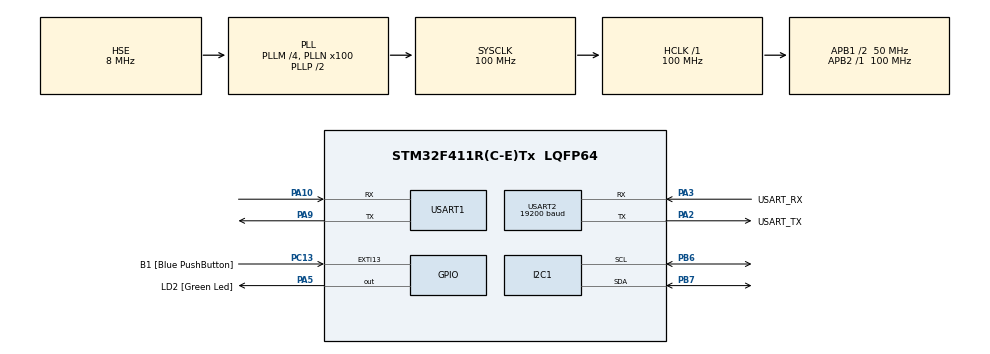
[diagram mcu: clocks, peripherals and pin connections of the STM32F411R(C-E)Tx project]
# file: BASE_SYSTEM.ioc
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Dma.Request0=USART2_TX
Dma.Request1=USART1_TX
Dma.USART1_TX.1.Direction=DMA_MEMORY_TO_PERIPH
Dma.USART1_TX.1.FIFOMode=DMA_FIFOMODE_DISABLE
Dma.USART1_TX.1.Instance=DMA2_Stream7
Dma.USART1_TX.1.MemDataAlignment=DMA_MDATAALIGN_BYTE
Dma.USART1_TX.1.MemInc=DMA_MINC_ENABLE
Dma.USART1_TX.1.Mode=DMA_NORMAL
Dma.USART1_TX.1.PeriphDataAlignment=DMA_PDATAALIGN_BYTE
Dma.USART1_TX.1.PeriphInc=DMA_PINC_DISABLE
Dma.USART1_TX.1.Priority=DMA_PRIORITY_LOW
Dma.USART2_TX.0.Direction=DMA_MEMORY_TO_PERIPH
Dma.USART2_TX.0.FIFOMode=DMA_FIFOMODE_DISABLE
Dma.USART2_TX.0.Instance=DMA1_Stream6
Dma.USART2_TX.0.MemDataAlignment=DMA_MDATAALIGN_BYTE
Dma.USART2_TX.0.MemInc=DMA_MINC_ENABLE
Dma.USART2_TX.0.Mode=DMA_NORMAL
Dma.USART2_TX.0.PeriphDataAlignment=DMA_PDATAALIGN_BYTE
Dma.USART2_TX.0.PeriphInc=DMA_PINC_DISABLE
Dma.USART2_TX.0.Priority=DMA_PRIORITY_LOW
Mcu.Family=STM32F4
Mcu.Name=STM32F411R(C-E)Tx
Mcu.Package=LQFP64
NVIC.DMA1_Stream6_IRQn=true\:0\:0\:false\:false\:true\:false\:true\:true
NVIC.DMA2_Stream7_IRQn=true\:0\:0\:false\:false\:true\:false\:true\:true
NVIC.I2C1_ER_IRQn=true\:0\:0\:false\:false\:true\:true\:true\:true
NVIC.I2C1_EV_IRQn=true\:0\:0\:false\:false\:true\:true\:true\:true
NVIC.PriorityGroup=NVIC_PRIORITYGROUP_0
NVIC.TIM1_TRG_COM_TIM11_IRQn=true\:0\:0\:false\:false\:true\:true\:true\:true
NVIC.USART1_IRQn=true\:0\:0\:false\:false\:true\:true\:true\:true
NVIC.USART2_IRQn=true\:0\:0\:false\:false\:true\:true\:true\:true
PA10.Mode=Asynchronous
PA10.Signal=USART1_RX
PA13.GPIO_Label=TMS
PA13.Mode=Serial_Wire
PA13.Signal=SYS_JTMS-SWDIO
PA14.GPIO_Label=TCK
PA14.Mode=Serial_Wire
PA14.Signal=SYS_JTCK-SWCLK
PA2.GPIO_Label=USART_TX
PA2.Mode=Asynchronous
PA2.Signal=USART2_TX
PA3.GPIO_Label=USART_RX
PA3.Mode=Asynchronous
PA3.Signal=USART2_RX
PA5.GPIO_Label=LD2 [Green Led]
PA5.Signal=GPIO_Output
PA9.Mode=Asynchronous
PA9.Signal=USART1_TX
PB3.GPIO_Label=SWO
PB3.Signal=SYS_JTDO-SWO
PB6.Mode=I2C
PB6.Signal=I2C1_SCL
PB7.Mode=I2C
PB7.Signal=I2C1_SDA
PC13-ANTI_TAMP.GPIO_Label=B1 [Blue PushButton]
PC13-ANTI_TAMP.GPIO_ModeDefaultEXTI=GPIO_MODE_IT_FALLING
PC13-ANTI_TAMP.Signal=GPXTI13
PC14-OSC32_IN.Mode=LSE-External-Oscillator
PC14-OSC32_IN.Signal=RCC_OSC32_IN
PC15-OSC32_OUT.Mode=LSE-External-Oscillator
PC15-OSC32_OUT.Signal=RCC_OSC32_OUT
PH0\ -\ OSC_IN.Mode=HSE-External-Clock-Source
PH0\ -\ OSC_IN.Signal=RCC_OSC_IN
PH1\ -\ OSC_OUT.Mode=HSE-External-Clock-Source
PH1\ -\ OSC_OUT.Signal=RCC_OSC_OUT
ProjectManager.HeapSize=0x200
ProjectManager.StackSize=0x400
ProjectManager.TargetToolchain=STM32CubeIDE
RCC.48MHZClocksFreq_Value=50000000
RCC.AHBFreq_Value=100000000
RCC.APB1CLKDivider=RCC_HCLK_DIV2
RCC.APB1Freq_Value=50000000
RCC.APB1TimFreq_Value=100000000
RCC.APB2Freq_Value=100000000
RCC.APB2TimFreq_Value=100000000
RCC.CortexFreq_Value=100000000
RCC.FLatency-AdvancedSettings=FLASH_LATENCY_3
RCC.HCLKFreq_Value=100000000
RCC.HSE_VALUE=8000000
RCC.HSI_VALUE=16000000
RCC.PLLM=4
RCC.PLLN=100
RCC.PLLSourceVirtual=RCC_PLLSOURCE_HSE
RCC.SYSCLKFreq_VALUE=100000000
RCC.SYSCLKSource=RCC_SYSCLKSOURCE_PLLCLK
RCC.VCOOutputFreq_Value=200000000
TIM11.Channel=TIM_CHANNEL_1
TIM11.OCMode_1=TIM_OCMODE_ACTIVE
TIM11.Period=2005
TIM11.Prescaler=99
TIM11.Pulse=1433
USART1.VirtualMode=VM_ASYNC
USART2.BaudRate=19200
USART2.Parity=PARITY_EVEN
USART2.VirtualMode=VM_ASYNC
USART2.WordLength=WORDLENGTH_9B
VP_TIM11_VS_ClockSourceINT.Mode=Enable_Timer
VP_TIM11_VS_OPM.Mode=OPM_bit
VP_TIM11_VS_no_output1.Mode=Output Compare1 No Output
board=NUCLEO-F411RE

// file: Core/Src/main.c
/* USER CODE BEGIN Header */
/**
  ******************************************************************************
  * @file           : main.c
  * @brief          : Main program body
  ******************************************************************************
  * @attention
  *
  * Copyright (c) 2023 STMicroelectronics.
  * All rights reserved.
  *
  * This software is licensed under terms that can be found in the LICENSE file
  * in the root directory of this software component.
  * If no LICENSE file comes with this software, it is provided AS-IS.
  *
  ******************************************************************************
  */
/* USER CODE END Header */
#include "main.h"
#include "dma.h"
#include "i2c.h"
#include "tim.h"
#include "usart.h"
#include "gpio.h"

/* USER CODE BEGIN Includes */
#include "ModBusRTU.h"
#include "I2C_EndEffector.h"
#include "string.h"
#include "math.h"
#include "Joystick.h"
#define BUFFER_SIZE 4
/* USER CODE END Includes */

/* USER CODE BEGIN PV */
ModbusHandleTypedef hmodbus;
u16u8_t registerFrame[200];
int reset;
int start;
int pick;
int place;
int stop;
int test;
int stoptest;
uint8_t RecieveData;
char Data[8];
int lastTest;
int lastRun;
int lastPick;
uint8_t Result;
//int flag;
//Joystick//
int receivedByte[BUFFER_SIZE];
int SetTrayPos;

typedef struct PositionStructure
{
	int tray_x[3];
	int tray_y[3];

	int position_x;
	int position_y;
}PositionStructureTypedef;
PositionStructureTypedef PosData = {0};
/* USER CODE END PV */

void SystemClock_Config(void);
/* USER CODE BEGIN PFP */
void UARTInterruptConfig();
/* USER CODE END PFP */

int main(void)
{

  /* MCU Configuration--------------------------------------------------------*/

  /* Reset of all peripherals, Initializes the Flash interface and the Systick. */
  HAL_Init();

  /* Configure the system clock */
  SystemClock_Config();

  /* Initialize all configured peripherals */
  MX_GPIO_Init();
  MX_DMA_Init();
  MX_USART2_UART_Init();
  MX_TIM11_Init();
  MX_I2C1_Init();
  MX_USART1_UART_Init();
  /* USER CODE BEGIN 2 */
  hmodbus.huart = &huart2;
  hmodbus.htim = &htim11;
  hmodbus.slaveAddress = 0x15;
  hmodbus.RegisterSize =200;
  Modbus_init(&hmodbus, registerFrame);
  UARTInterruptConfig();
  /* USER CODE END 2 */

  /* Infinite loop */
  /* USER CODE BEGIN WHILE */
  while (1)
  {
	  Modbus_Protocal_Worker();
	  static uint32_t timestamp = 0;
	  if (HAL_GetTick() >= timestamp){
	  	timestamp = HAL_GetTick() + 200;
	  	registerFrame[00].U16 = 22881;
//		HAL_I2C_Master_Receive(&hi2c1, 0x15<<1, &RecieveData, 1, HAL_MAX_DELAY);
//	  decimalToBinary(registerFrame[2].U16,Data);
//	  	Transmit_To_Basesystem(&registerFrame[2].U16,&hi2c1);
	  }
	  I2C_TO_BASESYSTEM(&registerFrame[2].U16,&hi2c1);
//	  if(Data[0] == '1' && lastTest == 0)
//	  {
//		  ENDEFF_TEST_MODE(&hi2c1);
//		  lastTest = 1;
//	  }
//	  else if(Data[0] == '0' && lastTest == 1)
//	  {
//		  ENDEFF_TEST_MODE_QUIT(&hi2c1);
//		  lastTest = 0;
//	  }
//	  else if(Data[1] == '1' && lastRun == 0)
//	  {
//		  ENDEFF_GRIPPER_RUNMODE(&hi2c1);
//		  lastRun = 1;
//	  }
//	  else if(Data[1] == '0' && lastRun == 1)
//	  {
//		  ENDEFF_GRIPPER_IDLE(&hi2c1);
//		  lastRun = 0;
//	  }
//	  else if(Data[2] == '1' && Data[1] == '1' && lastPick == 0)
//	  {
//		  ENDEFF_GRIPPER_PICK(&hi2c1);
//		  registerFrame[2].U16 = 0b0010;
//		  lastPick = 1;
//	  }
//	  else if(Data[3] == '1' && Data[1] == '1' && lastPick == 1)
//	  {
//		  ENDEFF_GRIPPER_PLACE(&hi2c1);
//		  registerFrame[2].U16 = 0b0010;
//		  lastPick = 0;
//	  }

//	  if(flag == 1)
//	  {
//		  char NewData[8];
//		  Result = 0;
//		  for(int i = 0; i < 4;i++)
//		  {
//			  if(i == 0) NewData[2] = Data[i];
//			  else if(i == 1) NewData[3] = Data[i];
//			  else if(i == 2) NewData[1] = Data[i];
//			  else if(i == 3) NewData[0] = Data[i];
//		  }
//
//		  for(int j = 0; j<sizeof(NewData);j++)
//		  {
//			  if(NewData[j] == '\0') j = sizeof(NewData);
//			  else Result += ((int)NewData[j]-'0')*pow(2,j);
//		  }
//		  registerFrame[2].U16 = Result;
//		  flag = 0;
//	  }

 	  if(reset == 1)
	  {
		  ENDEFF_SOFT_RESET(&hi2c1);
		  reset = 0;
		  start = 0;
		  test = 0;
		  pick = 0;
		  place = 0;
		  stoptest = 0;
//		  HAL_I2C_Master_Receive(&hi2c1, 0x15<<1, &RecieveData, 1, HAL_MAX_DELAY);
//		  decimalToBinary(RecieveData,Data);
//		  flag = 1;
	  }
	  if(test == 1)
	  {
		  ENDEFF_TEST_MODE(&hi2c1);
		  HAL_I2C_Master_Receive(&hi2c1, 0x15<<1, &RecieveData, 1, HAL_MAX_DELAY);
//		  decimalToBinary(RecieveData,Data);
		  test = 0;
//		  flag = 1;
	  }
	  else if(stoptest == 1)
	  {
		  ENDEFF_TEST_MODE_QUIT(&hi2c1);
		  HAL_I2C_Master_Receive(&hi2c1, 0x15<<1, &RecieveData, 1, HAL_MAX_DELAY);
//		  decimalToBinary(RecieveData,Data);
		  stoptest = 0;
//		  flag = 1;
	  }
	  else if(start == 1)
	  {
		  ENDEFF_GRIPPER_RUNMODE(&hi2c1);
		  HAL_I2C_Master_Receive(&hi2c1, 0x15<<1, &RecieveData, 1, HAL_MAX_DELAY);
//		  decimalToBinary(RecieveData,Data);
		  start = 0;
//		  flag = 1;
	  }
	  else if(pick == 1)
	  {
		  ENDEFF_GRIPPER_PICK(&hi2c1);
		  HAL_I2C_Master_Receive(&hi2c1, 0x15<<1, &RecieveData, 1, HAL_MAX_DELAY);
//		  decimalToBinary(RecieveData,Data);
		  pick = 0;
//		  flag = 1;
	  }
	  else if(place == 1)
	  {
		  ENDEFF_GRIPPER_PLACE(&hi2c1);
//		  HAL_I2C_Master_Receive(&hi2c1, 0x15<<1, &RecieveData, 1, HAL_MAX_DELAY);
//		  decimalToBinary(RecieveData,Data);
		  place = 0;
//		  flag = 1;
	  }
	  else if(stop == 1)
	  {
		  ENDEFF_GRIPPER_IDLE(&hi2c1);
		  HAL_I2C_Master_Receive(&hi2c1, 0x15<<1, &RecieveData, 1, HAL_MAX_DELAY);
//		  decimalToBinary(RecieveData,Data);
		  stop = 0;
//		  flag = 1;
	  }

    /* USER CODE END WHILE */

  }
}

void SystemClock_Config(void)
{
  RCC_OscInitTypeDef RCC_OscInitStruct = {0};
  RCC_ClkInitTypeDef RCC_ClkInitStruct = {0};

  /** Configure the main internal regulator output voltage
  */
  __HAL_RCC_PWR_CLK_ENABLE();
  __HAL_PWR_VOLTAGESCALING_CONFIG(PWR_REGULATOR_VOLTAGE_SCALE1);

  /** Initializes the RCC Oscillators according to the specified parameters
  * in the RCC_OscInitTypeDef structure.
  */
  RCC_OscInitStruct.OscillatorType = RCC_OSCILLATORTYPE_HSE;
  RCC_OscInitStruct.HSEState = RCC_HSE_BYPASS;
  RCC_OscInitStruct.PLL.PLLState = RCC_PLL_ON;
  RCC_OscInitStruct.PLL.PLLSource = RCC_PLLSOURCE_HSE;
  RCC_OscInitStruct.PLL.PLLM = 4;
  RCC_OscInitStruct.PLL.PLLN = 100;
  RCC_OscInitStruct.PLL.PLLP = RCC_PLLP_DIV2;
  RCC_OscInitStruct.PLL.PLLQ = 4;
  if (HAL_RCC_OscConfig(&RCC_OscInitStruct) != HAL_OK)
  {
    Error_Handler();
  }

  /** Initializes the CPU, AHB and APB buses clocks
  */
  RCC_ClkInitStruct.ClockType = RCC_CLOCKTYPE_HCLK|RCC_CLOCKTYPE_SYSCLK
                              |RCC_CLOCKTYPE_PCLK1|RCC_CLOCKTYPE_PCLK2;
  RCC_ClkInitStruct.SYSCLKSource = RCC_SYSCLKSOURCE_PLLCLK;
  RCC_ClkInitStruct.AHBCLKDivider = RCC_SYSCLK_DIV1;
  RCC_ClkInitStruct.APB1CLKDivider = RCC_HCLK_DIV2;
  RCC_ClkInitStruct.APB2CLKDivider = RCC_HCLK_DIV1;

  if (HAL_RCC_ClockConfig(&RCC_ClkInitStruct, FLASH_LATENCY_3) != HAL_OK)
  {
    Error_Handler();
  }
}

/* USER CODE BEGIN 4 */
void HAL_UART_RxCpltCallback(UART_HandleTypeDef *huart){
	if(huart == &huart1){
		Joystick_Received(&receivedByte);
	}
}
/* USER CODE END 4 */

void Error_Handler(void)
{
  __disable_irq();
  while (1)
  {
  }
}
